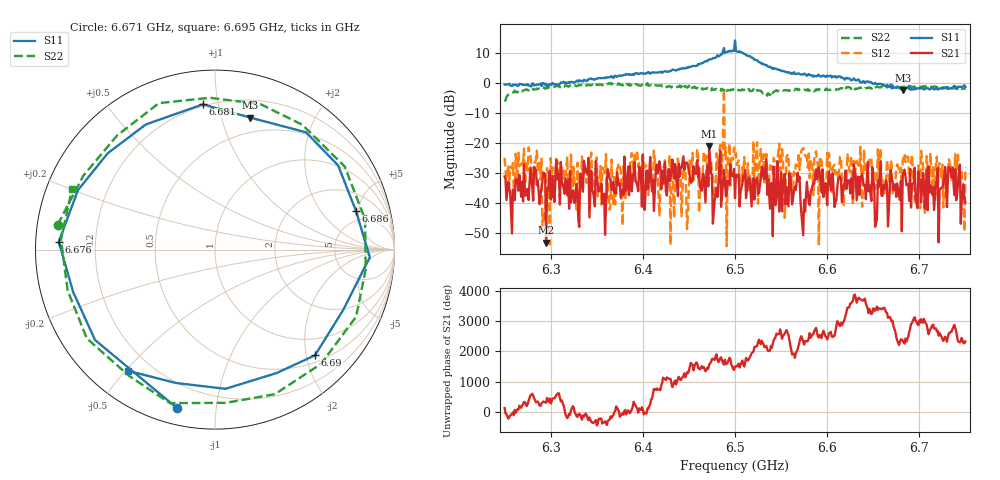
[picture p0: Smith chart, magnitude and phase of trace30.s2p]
# Hz S RI R 50
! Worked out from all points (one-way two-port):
!   401 points, 6.25 GHz to 6.75 GHz, reference 50 ohm
!   highest |S21| = -21.04 dB at 6.472 GHz (marker M1); lowest = -53.1 dB at 6.295 GHz (marker M2)
!   lowest |S11| = -2.4 dB at 6.682 GHz (marker M3), VSWR 7.38, Z = 17.8 + j62.1 ohm
!   |S11| at or under -10 dB: nowhere
!   |S22| runs from -6.2 to 0.0 dB; largest |S21 - S12| = 0.75
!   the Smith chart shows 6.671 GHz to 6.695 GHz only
!   S11 on the Smith chart (normalised r, x): 6.671 GHz: 0.08, -0.78; 6.676 GHz: 0.07, +0.03; 6.681 GHz: 0.19, +0.90; 6.686 GHz: 3.67, +4.67; 6.69 GHz: 0.63, -2.17; 6.695 GHz: 0.12, -0.51
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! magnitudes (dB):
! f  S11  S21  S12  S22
! 6.25 GHz  -0.6  -31.1  -24.9  -6.2
! 6.285 GHz  -0.6  -33.9  -22.5  -1.9
! 6.295 GHz  -0.3  -53.1  -32.9  -1.6
! 6.334 GHz  0.5  -33.4  -24.5  -0.7
! 6.418 GHz  3.6  -26.1  -44.0  -0.9
! 6.472 GHz  7.8  -21.0  -32.3  -2.4
! 6.479 GHz  8.4  -37.0  -34.1  -2.0
! 6.485 GHz  9.6  -41.2  -23.2  -2.6
! 6.494 GHz  10.7  -33.8  -20.1  -2.5
! 6.5 GHz  14.1  -38.3  -24.1  -2.0
! 6.574 GHz  2.8  -50.6  -21.6  -2.4
! 6.584 GHz  2.5  -34.2  -28.4  -2.3
! 6.668 GHz  -0.9  -35.3  -34.0  -1.2
! 6.671 GHz  -0.9  -32.8  -37.1  -1.0
! 6.676 GHz  -1.2  -33.4  -27.0  -1.4
! 6.681 GHz  -1.8  -49.2  -37.3  -1.4
! 6.682 GHz  -2.4  -31.0  -25.8  -1.4
! 6.686 GHz  -1.8  -34.0  -24.4  -1.2
! 6.69 GHz  -1.8  -28.6  -30.9  -1.4
! 6.695 GHz  -1.6  -28.2  -39.4  -1.3
! 6.734 GHz  -1.7  -28.8  -27.8  -1.2
! 6.75 GHz  -1.4  -39.7  -28.1  -1.9
